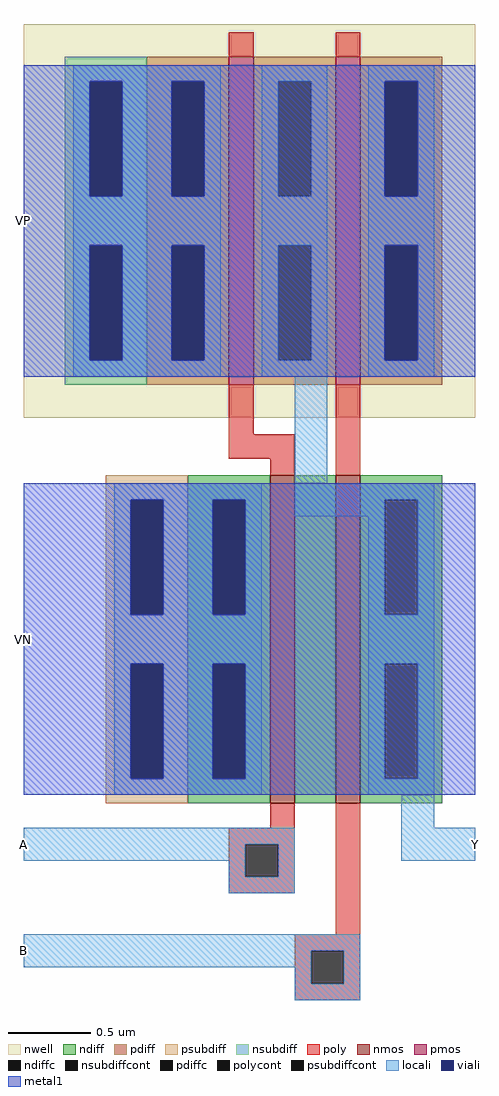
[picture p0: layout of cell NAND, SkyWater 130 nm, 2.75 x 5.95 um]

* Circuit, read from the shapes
.subckt NAND A B Y VP VN
XM1 n1 A VN VN sky130_fd_pr__nfet_01v8 w=2 l=0.15
XM2 Y B n1 VN sky130_fd_pr__nfet_01v8 w=2 l=0.15
XM3 Y A VP VP sky130_fd_pr__pfet_01v8 w=2 l=0.15
XM4 VP B Y VP sky130_fd_pr__pfet_01v8 w=2 l=0.15
.ends

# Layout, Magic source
magic
tech sky130A
<< nwell >>
rect -125 135 150 375
<< nmos >>
rect 25 -100 40 100
rect 65 -100 80 100
<< pmos >>
rect 0 155 15 355
rect 65 155 80 355
<< ndiff >>
rect -25 85 25 100
rect -25 15 -10 85
rect 10 15 25 85
rect -25 -15 25 15
rect -25 -85 -10 -15
rect 10 -85 25 -15
rect -25 -100 25 -85
rect 40 -100 65 100
rect 80 85 130 100
rect 80 15 95 85
rect 115 15 130 85
rect 80 -15 130 15
rect 80 -85 95 -15
rect 115 -85 130 -15
rect 80 -100 130 -85
<< pdiff >>
rect -50 340 0 355
rect -50 270 -35 340
rect -15 270 0 340
rect -50 240 0 270
rect -50 170 -35 240
rect -15 170 0 240
rect -50 155 0 170
rect 15 340 65 355
rect 15 270 30 340
rect 50 270 65 340
rect 15 240 65 270
rect 15 170 30 240
rect 50 170 65 240
rect 15 155 65 170
rect 80 340 130 355
rect 80 270 95 340
rect 115 270 130 340
rect 80 240 130 270
rect 80 170 95 240
rect 115 170 130 240
rect 80 155 130 170
<< ndiffc >>
rect -10 15 10 85
rect -10 -85 10 -15
rect 95 15 115 85
rect 95 -85 115 -15
<< pdiffc >>
rect -35 270 -15 340
rect -35 170 -15 240
rect 30 270 50 340
rect 30 170 50 240
rect 95 270 115 340
rect 95 170 115 240
<< psubdiff >>
rect -75 85 -25 100
rect -75 15 -60 85
rect -40 15 -25 85
rect -75 -15 -25 15
rect -75 -85 -60 -15
rect -40 -85 -25 -15
rect -75 -100 -25 -85
<< nsubdiff >>
rect -100 340 -50 355
rect -100 270 -85 340
rect -65 270 -50 340
rect -100 240 -50 270
rect -100 170 -85 240
rect -65 170 -50 240
rect -100 155 -50 170
<< psubdiffcont >>
rect -60 15 -40 85
rect -60 -85 -40 -15
<< nsubdiffcont >>
rect -85 270 -65 340
rect -85 170 -65 240
<< poly >>
rect 0 355 15 370
rect 65 355 80 370
rect 0 125 15 155
rect 0 110 40 125
rect 25 100 40 110
rect 65 100 80 155
rect 25 -115 40 -100
rect 0 -125 40 -115
rect 0 -145 10 -125
rect 30 -145 40 -125
rect 0 -155 40 -145
rect 65 -180 80 -100
rect 40 -190 80 -180
rect 40 -210 50 -190
rect 70 -210 80 -190
rect 40 -220 80 -210
<< polycont >>
rect 10 -145 30 -125
rect 50 -210 70 -190
<< locali >>
rect -95 340 -5 350
rect -95 270 -85 340
rect -65 270 -35 340
rect -15 270 -5 340
rect -95 240 -5 270
rect -95 170 -85 240
rect -65 170 -35 240
rect -15 170 -5 240
rect -95 160 -5 170
rect 20 340 60 350
rect 20 270 30 340
rect 50 270 60 340
rect 20 240 60 270
rect 20 170 30 240
rect 50 170 60 240
rect 20 160 60 170
rect 85 340 125 350
rect 85 270 95 340
rect 115 270 125 340
rect 85 240 125 270
rect 85 170 95 240
rect 115 170 125 240
rect 85 160 125 170
rect 40 95 60 160
rect -70 85 20 95
rect -70 15 -60 85
rect -40 15 -10 85
rect 10 15 20 85
rect 40 85 125 95
rect 40 75 95 85
rect -70 -15 20 15
rect -70 -85 -60 -15
rect -40 -85 -10 -15
rect 10 -85 20 -15
rect -70 -95 20 -85
rect 85 15 95 75
rect 115 15 125 85
rect 85 -15 125 15
rect 85 -85 95 -15
rect 115 -85 125 -15
rect 85 -95 125 -85
rect 105 -115 125 -95
rect -125 -125 40 -115
rect -125 -135 10 -125
rect 0 -145 10 -135
rect 30 -145 40 -125
rect 105 -135 150 -115
rect 0 -155 40 -145
rect -125 -190 80 -180
rect -125 -200 50 -190
rect 40 -210 50 -200
rect 70 -210 80 -190
rect 40 -220 80 -210
<< viali >>
rect -85 270 -65 340
rect -35 270 -15 340
rect -85 170 -65 240
rect -35 170 -15 240
rect 95 270 115 340
rect 95 170 115 240
rect -60 15 -40 85
rect -10 15 10 85
rect -60 -85 -40 -15
rect -10 -85 10 -15
<< metal1 >>
rect -125 340 150 350
rect -125 270 -85 340
rect -65 270 -35 340
rect -15 270 95 340
rect 115 270 150 340
rect -125 240 150 270
rect -125 170 -85 240
rect -65 170 -35 240
rect -15 170 95 240
rect 115 170 150 240
rect -125 160 150 170
rect -125 85 150 95
rect -125 15 -60 85
rect -40 15 -10 85
rect 10 15 150 85
rect -125 -15 150 15
rect -125 -85 -60 -15
rect -40 -85 -10 -15
rect 10 -85 150 -15
rect -125 -95 150 -85
<< labels >>
rlabel locali -125 -125 -125 -125 7 A
port 1 w
rlabel locali -125 -190 -125 -190 7 B
port 2 w
rlabel locali 150 -125 150 -125 3 Y
port 3 e
rlabel metal1 -125 255 -125 255 7 VP
port 4 w
rlabel metal1 -125 0 -125 0 7 VN
port 5 w
<< end >>
